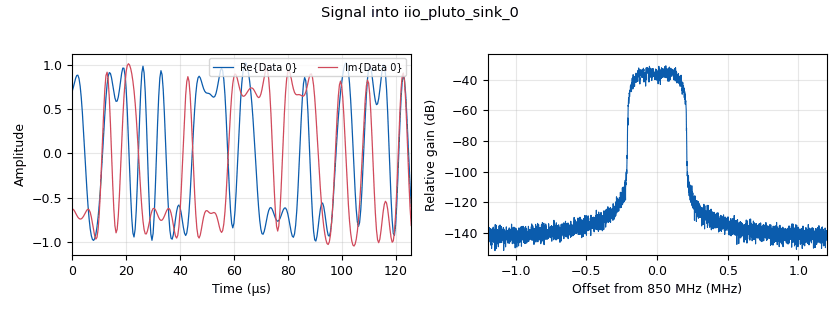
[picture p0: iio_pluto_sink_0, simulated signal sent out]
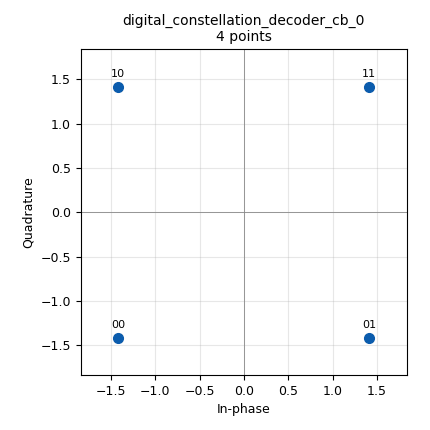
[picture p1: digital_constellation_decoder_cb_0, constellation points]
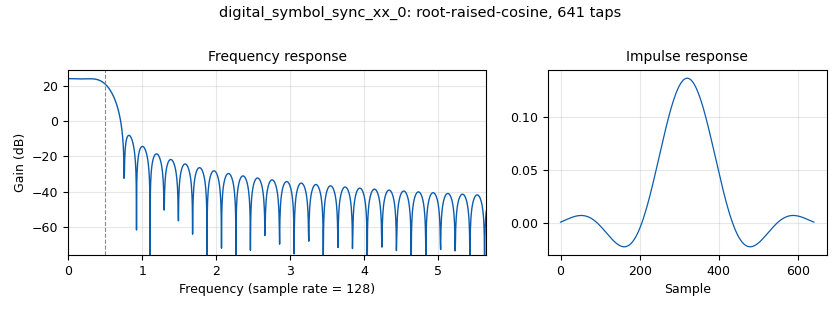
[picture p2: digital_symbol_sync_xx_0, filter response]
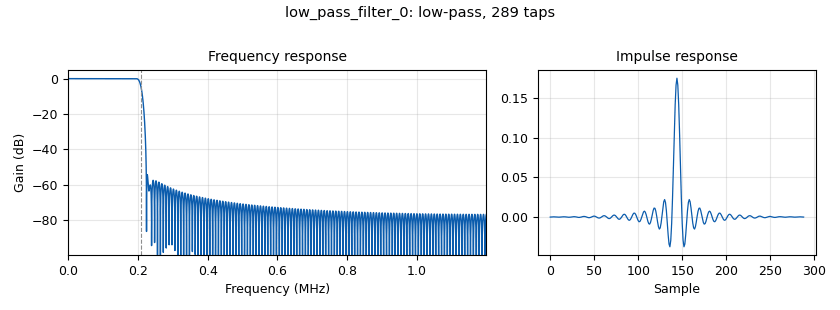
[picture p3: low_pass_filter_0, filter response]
options:
  parameters:
    author: emmanuelkwakyenyantakyi
    generate_options: qt_gui
    id: qpsk_demon_data_saving_5_3
    output_language: python
    title: QPSK demodulation and data saving
  states: {}

blocks:
- name: my_const
  id: variable_constellation
  parameters:
    precision: '8'
    type: qpsk
  states: {}
- name: my_const_qpsk
  id: variable_constellation
  parameters:
    precision: '8'
    type: qpsk
  states: {}
- name: nfilts
  id: variable
  parameters:
    value: '16'
  states: {}
- name: rrc_taps_2
  id: variable
  parameters:
    value: firdes.root_raised_cosine(nfilts, nfilts * sps, 1.0, 0.4, int(5 * sps * nfilts))
  states: {}
- name: samp_rate
  id: variable
  parameters:
    value: 2.4e6
  states: {}
- name: sps
  id: variable
  parameters:
    value: '8'
  states: {}
- name: analog_agc_xx_0
  id: analog_agc_xx
  parameters:
    gain: '1.0'
    max_gain: '65536'
    rate: '1e-4'
    reference: '1.0'
    type: complex
  states: {}
- name: analog_noise_source_x_0
  id: analog_noise_source_x
  parameters:
    amp: '0.15'
    noise_type: analog.GR_GAUSSIAN
    seed: '0'
    type: complex
  states: {}
- name: analog_random_source_x_0
  id: analog_random_source_x
  parameters:
    max: '255'
    min: '0'
    num_samps: '10000'
    repeat: 'True'
    type: byte
  states: {}
- name: blocks_add_xx_0
  id: blocks_add_xx
  parameters:
    type: complex
  states: {}
- name: blocks_char_to_float_0
  id: blocks_char_to_float
  parameters:
    scale: '1'
  states: {}
- name: blocks_file_sink_0
  id: blocks_file_sink
  parameters:
    file: /Users/emmanuelkwakyenyantakyi/Desktop/Documents/College/SDR_2026_27/GNU_SDR_Intro/Chapter5/qpsk_msg_rec_symb
    type: byte
  states: {}
- name: blocks_file_sink_0_0
  id: blocks_file_sink
  parameters:
    file: /Users/emmanuelkwakyenyantakyi/Desktop/Documents/College/SDR_2026_27/GNU_SDR_Intro/Chapter5/qpsk_msg_rec_bits
    type: byte
  states: {}
- name: blocks_multiply_const_vxx_0
  id: blocks_multiply_const_vxx
  parameters:
    const: '0.5'
    type: complex
  states: {}
- name: blocks_unpack_k_bits_bb_0
  id: blocks_unpack_k_bits_bb
  parameters:
    k: '2'
  states: {}
- name: digital_constellation_decoder_cb_0
  id: digital_constellation_decoder_cb
  parameters:
    constellation: my_const
  states: {}
- name: digital_constellation_modulator_0
  id: digital_constellation_modulator
  parameters:
    constellation: my_const_qpsk
    differential: 'True'
    excess_bw: '0.4'
    samples_per_symbol: sps
  states: {}
- name: digital_costas_loop_cc_0
  id: digital_costas_loop_cc
  parameters:
    order: '4'
    w: '0.0125664'
  states: {}
- name: digital_diff_decoder_bb_0
  id: digital_diff_decoder_bb
  parameters:
    coding: digital.DIFF_DIFFERENTIAL
    modulus: '4'
  states: {}
- name: digital_map_bb_0
  id: digital_map_bb
  parameters:
    map: '[0, 1, 2, 3]'
  states: {state: bypassed}
- name: digital_symbol_sync_xx_0
  id: digital_symbol_sync_xx
  parameters:
    damping: '0.707107'
    loop_bw: '0.00314159'
    max_dev: '1.5'
    nfilters: '16'
    osps: '1'
    pfb_mf_taps: rrc_taps_2
    resamp_type: digital.IR_PFB_MF
    sps: sps
    ted_gain: '2.6'
    ted_type: digital.TED_ZERO_CROSSING
    type: cc
  states: {}
- name: iio_pluto_sink_0
  id: iio_pluto_sink
  parameters:
    attenuation1: '10.0'
    bandwidth: '20000000'
    buffer_size: '32768'
    cyclic: 'False'
    filter_source: '''Auto'''
    frequency: int(850e6)
    samplerate: int(samp_rate)
    type: fc32
    uri: usb:0.2.5
  states: {}
- name: iio_pluto_source_0
  id: iio_pluto_source
  parameters:
    bandwidth: '20000000'
    bbdc: 'True'
    buffer_size: '32768'
    filter_source: '''Auto'''
    frequency: int(850e6)
    gain1: '''manual'''
    manual_gain1: '30'
    quadrature: 'True'
    rfdc: 'True'
    samplerate: int(samp_rate)
    type: fc32
    uri: usb:0.2.5
  states: {}
- name: low_pass_filter_0
  id: low_pass_filter
  parameters:
    cutoff_freq: 210e3
    decim: '1'
    gain: '1'
    samp_rate: samp_rate
    type: fir_filter_ccf
    width: 20e3
    win: window.WIN_HAMMING
  states: {}
- name: qtgui_time_sink_x_0
  id: qtgui_time_sink_x
  parameters:
    autoscale: 'True'
    name: Decoded Data
    size: '1024'
    srate: samp_rate
    type: float
  states: {}
- name: virtual_sink_0
  id: virtual_sink
  parameters:
    stream_id: to_demod
  states: {}
- name: virtual_source_0
  id: virtual_source
  parameters:
    stream_id: to_demod
  states: {}

connections:
- [analog_agc_xx_0, '0', digital_symbol_sync_xx_0, '0']
- [analog_noise_source_x_0, '0', blocks_add_xx_0, '1']
- [analog_random_source_x_0, '0', digital_constellation_modulator_0, '0']
- [blocks_add_xx_0, '0', low_pass_filter_0, '0']
- [blocks_char_to_float_0, '0', qtgui_time_sink_x_0, '0']
- [blocks_multiply_const_vxx_0, '0', iio_pluto_sink_0, '0']
- [blocks_unpack_k_bits_bb_0, '0', blocks_char_to_float_0, '0']
- [blocks_unpack_k_bits_bb_0, '0', blocks_file_sink_0_0, '0']
- [digital_constellation_decoder_cb_0, '0', digital_diff_decoder_bb_0, '0']
- [digital_constellation_modulator_0, '0', blocks_multiply_const_vxx_0, '0']
- [digital_costas_loop_cc_0, '0', virtual_sink_0, '0']
- [digital_diff_decoder_bb_0, '0', digital_map_bb_0, '0']
- [digital_map_bb_0, '0', blocks_file_sink_0, '0']
- [digital_map_bb_0, '0', blocks_unpack_k_bits_bb_0, '0']
- [digital_symbol_sync_xx_0, '0', digital_costas_loop_cc_0, '0']
- [iio_pluto_source_0, '0', blocks_add_xx_0, '0']
- [low_pass_filter_0, '0', analog_agc_xx_0, '0']
- [virtual_source_0, '0', digital_constellation_decoder_cb_0, '0']

metadata:
  file_format: 1
  grc_version: 3.10.12.0
